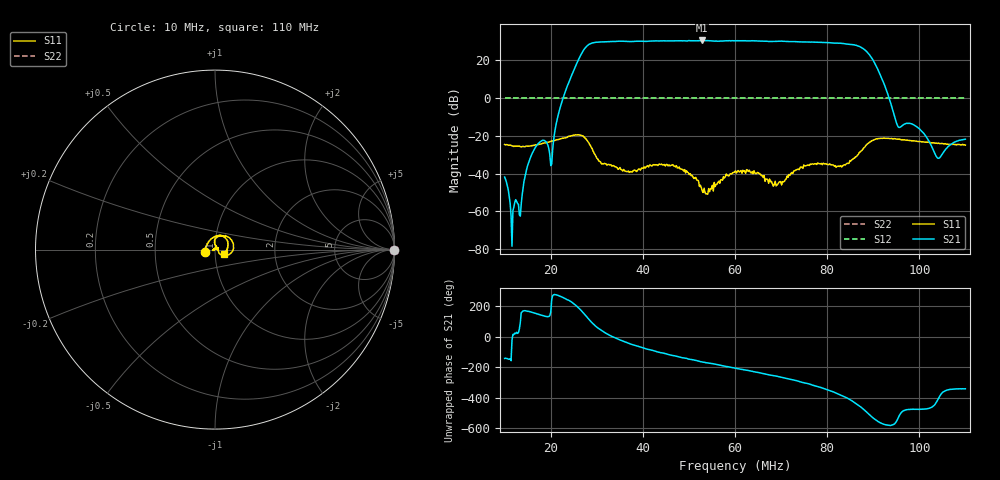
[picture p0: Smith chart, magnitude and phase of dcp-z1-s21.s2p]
! Anritsu VNA Master:  Model: MS2034B/10/19/501
! SN:  1337062
! /bd0/ovro-jan-2016/dcp-z1-s21.s2p
! Existing Calibration Information:
! TYPE:  Current Settings,  Active Cal Settings
! TIME:  01/08/2016 09:38:34 PM,  01/08/2016 08:43:08 PM
! INTERNAL TEMP:  42.8 C,  45.0 C
! # POINTS:  500,  500
! START FREQ:  10.000 MHz,  10.000 MHz
! STOP FREQ:  110.000 MHz,  110.000 MHz
! SOURCE POWER:  Low,  Low
! IFBW:  100 Hz,  100 Hz
! AVG FACTOR:  3 ,  3
! REF PLANE 1:  2.2245 m,  2.2245 m
! REF PLANE 2:  0 mm,  0 mm
! CAL TYPE:  1P2P S11,S21,  1P2P S11,S21
! CAL METHOD:  SOLT,  SOLT
! CAL LINE TYPE:  Coax,  Coax
! DUT PORT 1:  K-Conn(M),  K-Conn(M)
! DUT PORT 2:  N-Conn(M),  N-Conn(M)
! CAL STATUS:  OK: Accuracy High,  --
# GHZ S DB R 50.0
! FREQ.GHZ  S11DB  S11A  S21DB  S21A  S12DB  S12A  S22DB  S22A
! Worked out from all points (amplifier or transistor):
!   500 points, 10 MHz to 110 MHz, reference 50 ohm
!   highest |S21| = 30.6 dB at 52.89 MHz (marker M1)
!   |S21| within 3 dB of that: 27.85 MHz to 86.74 MHz (58.88 MHz wide, 103 % of centre)
!   unconditionally stable (mu >= 1): nowhere
!   at 26.63 MHz: K = 7.45, MSG = 11.7 dB, |S12| = 0.0 dB
!   at 60.1 MHz: K = 16.58, MSG = 15.2 dB, |S12| = 0.0 dB
!   at 110 MHz: K = 0.00, MSG = -10.9 dB, |S12| = 0.0 dB
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0.01  -24.52 -164.9  -41.81 -142.6  0.00 0.0  0.00 0.0
0.02342685  -20.94 56.3  5.24 -116.0  0.00 0.0  0.00 0.0
0.02563126  -19.54 25.8  18.26 -160.2  0.00 0.0  0.00 0.0
0.02683367  -19.95 -0.0  24.30 163.9  0.00 0.0  0.00 0.0
0.02783567  -22.17 -23.5  27.57 129.4  0.00 0.0  0.00 0.0
0.02923848  -28.17 -41.6  29.37 82.5  0.00 0.0  0.00 0.0
0.03104208  -34.77 -14.4  29.81 40.2  0.00 0.0  0.00 0.0
0.03324649  -35.93 6.9  30.07 1.9  0.00 0.0  0.00 0.0
0.03825651  -38.12 60.8  30.16 -57.5  0.00 0.0  0.00 0.0
0.04346693  -35.03 76.5  30.34 -102.3  0.00 0.0  0.00 0.0
0.04827655  -37.58 73.9  30.45 -136.6  0.00 0.0  0.00 0.0
0.05288577  -49.10 94.9  30.60 -165.7  0.00 0.0  0.00 0.0
0.0601002  -38.51 -157.4  30.41 153.4  0.00 0.0  0.00 0.0
0.06971944  -44.24 109.9  30.27 96.8  0.00 0.0  0.00 0.0
0.07673347  -34.80 28.2  29.75 43.2  0.00 0.0  0.00 0.0
0.08214429  -36.09 42.1  29.20 -12.2  0.00 0.0  0.00 0.0
0.0859519  -31.77 88.4  28.23 -71.7  0.00 0.0  0.00 0.0
0.08735471  -28.03 94.6  26.98 -101.7  0.00 0.0  0.00 0.0
0.08875751  -24.16 87.8  24.22 -139.8  0.00 0.0  0.00 0.0
0.09056112  -21.61 66.6  17.47 174.5  0.00 0.0  0.00 0.0
0.09336673  -21.30 40.4  0.55 139.7  0.00 0.0  0.00 0.0
0.11  -24.86 -25.7  -21.74 18.7  0.00 0.0  0.00 0.0
